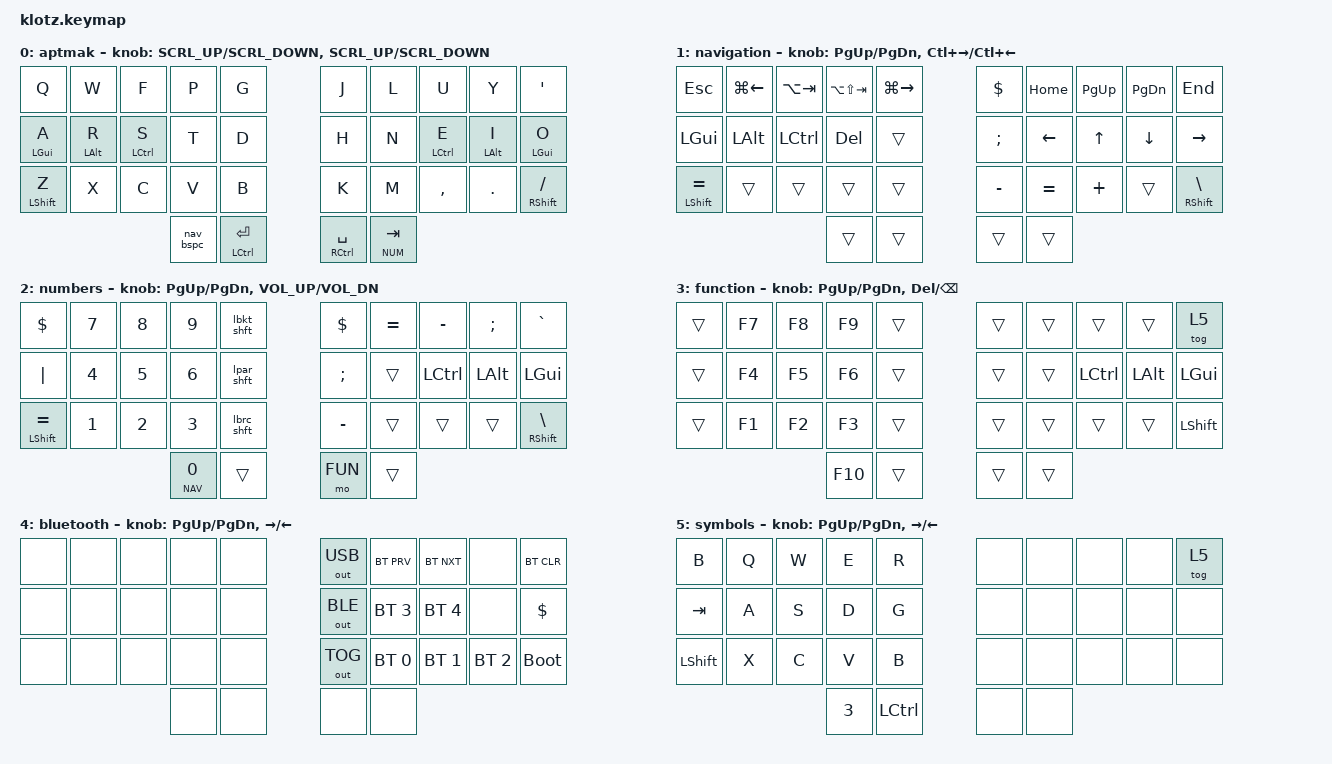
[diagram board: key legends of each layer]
#include "base_5x3T2.h"

// KLOTZ key numbers
//  ___________________________________       ___________________________________
// |  0  |  1  |  2  |  3  |  4  |     |     |     |    5 |   6 |   7 |   8 |  9  |
// | 10  | 11  | 12  | 13  | 14  |     |     |     |   15 |  16 |  17 |  18 | 19  |
// | 20  | 21  | 22  | 23  | 24  | ROT |     | ROT |   25 |  26 |  27 |  28 | 29  |
// |                         30  | 31  |     | 32  |   33                         |
//  -----------------------------------       -----------------------------------

&mt {   
    flavor = "tap-preferred";
    tapping-term-ms = <180>; 
};

/ {
    conditional_layers {
        compatible = "zmk,conditional-layers";
        tri_layer {
            if-layers = <1 2>;
            then-layer = <4>;
        };
    };
};

/ {

    keymap {
        compatible = "zmk,keymap";

        aptmak {
            bindings = <
                &kp Q           &kp W          &kp F          &kp P            &kp G           &kp J            &kp L           &kp U        &kp Y       &kp APOS
                &mt_205 LGUI A  &mt LALT R     &mt LCTRL S    &kp T            &kp D           &kp H            &kp N           &mt LCTRL E  &mt LALT I  &mt_205 LGUI O
                &mt_80  LSHFT Z &kp X          &kp C          &kp V            &kp B           &kp K            &kp M           &kp COMMA    &kp DOT     &mt_140 RSHFT FSLH
                                                              &nav_bspc &mt LCTRL ENTER &mt_205 RCTRL SPACE  &lt_105 NUM TAB
            >;
            sensor-bindings = <&rot_msc SCRL_UP SCRL_DOWN &rot_msc SCRL_UP SCRL_DOWN>;
        };
        navigation {
            bindings = <
                &kp ESC         &kp LG(LEFT)  &kp LA(TAB)   &kp LA(LS(TAB)) &kp LG(RIGHT)  &kp DOLLAR     &kp HOME       &kp PG_UP      &kp PG_DN      &kp END
                &kp LGUI        &kp LALT      &kp LCTRL     &kp DELETE      &trans         &kp SEMI       &kp LEFT       &kp UP         &kp DOWN       &kp RIGHT
                &mt_140 LSHFT EQUAL &trans        &trans        &trans          &trans         &kp MINUS      &kp EQUAL      &kp PLUS       &trans         &mt_140 RSHFT BSLH
                                                            &trans          &trans         &trans         &trans
            >;
            sensor-bindings = <&inc_dec_kp PG_UP PG_DN &inc_dec_kp LC(RIGHT)  LC(LEFT)>;
        };
        numbers {
            bindings = <
                &kp DOLLAR      &kp N7         &kp N8        &kp N9         &lbkt_shft     &kp DOLLAR     &kp EQUAL      &kp MINUS      &kp SEMI       &kp GRAVE
                &kp PIPE        &kp N4         &kp N5        &kp N6         &lpar_shft     &kp SEMI       &trans         &kp LCTRL      &kp LALT       &kp LGUI
                &mt_140 LSHFT EQUAL &kp N1         &kp N2        &kp N3         &lbrc_shft     &kp MINUS      &trans         &trans         &trans         &mt_140 RSHFT BSLH
                                                             &lt_140 NAV N0 &trans         &mo FUN        &trans 
            >;
            sensor-bindings = <&inc_dec_kp PG_UP PG_DN &inc_dec_kp C_VOL_UP C_VOL_DN>;
        };
        function {
            bindings = <
                &trans          &kp F7        &kp F8         &kp F9         &trans         &trans         &trans         &trans         &trans         &tog 5
                &trans          &kp F4        &kp F5         &kp F6         &trans         &trans         &trans         &kp LCTRL      &kp LALT       &kp LGUI
                &trans          &kp F1        &kp F2         &kp F3         &trans         &trans         &trans         &trans         &trans         &kp LSHFT
                                                             &kp F10        &trans         &trans         &trans
            >;
           sensor-bindings = <&inc_dec_kp PG_UP PG_DN &inc_dec_kp DELETE BSPC>;
        };
        bluetooth {
            bindings = <
                &none          &none          &none          &none          &none          &out OUT_USB   &bt BT_PRV     &bt BT_NXT     &none          &bt BT_CLR
                &none          &none          &none          &none          &none          &out OUT_BLE   &bt BT_SEL 3   &bt BT_SEL 4   &none          &kp DOLLAR
                &none          &none          &none          &none          &none          &out OUT_TOG   &bt BT_SEL 0   &bt BT_SEL 1   &bt BT_SEL 2   &bootloader
                                                             &none          &none          &none          &none
            >;
            sensor-bindings = <&inc_dec_kp PG_UP PG_DN &inc_dec_kp RIGHT LEFT>;
        };
        symbols {
            bindings = <
                &kp B            &kp Q          &kp W         &kp E         &kp R         &none      &none           &none        &none     &tog 5
                &kp TAB          &kp A          &kp S         &kp D         &kp G         &none      &none           &none        &none     &none
                &kp LSHFT        &kp X          &kp C         &kp V         &kp B         &none      &none           &none        &none     &none
                                                              &kp N3        &kp LCTRL     &none      &none
            >;
            sensor-bindings = <&inc_dec_kp PG_UP PG_DN &inc_dec_kp RIGHT LEFT>;
        };

    };
};
